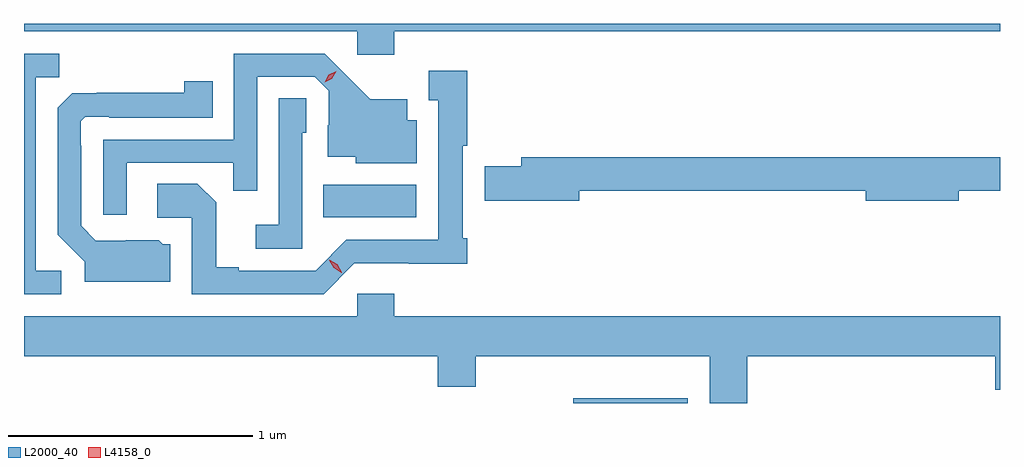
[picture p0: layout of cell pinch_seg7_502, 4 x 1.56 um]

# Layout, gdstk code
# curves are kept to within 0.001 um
import gdstk
lib = gdstk.Library(unit=1e-6, precision=1e-09)
def R(c, l, rs):  # rectangles x0, y0, x1, y1
    for r in rs: c.add(gdstk.rectangle(r[:2], r[2:], *l))
def P(c, l, *ps):  # polygons
    for p in ps: c.add(gdstk.Polygon(p, *l))
L2000_40 = (2000, 40)
L4158_0 = (4158, 0)

pinch_seg7_502 = lib.new_cell('pinch_seg7_502')
R(pinch_seg7_502, L2000_40, [(123.075,1080.344,123.544,1080.364), (122.05,1081.106,122.431,1081.24)])
P(pinch_seg7_502, L2000_40, [(122.342,1081.868),(124.824,1081.868),(124.824,1081.9),(120.824,1081.9),(120.824,1081.868),(122.19,1081.868),(122.19,1081.773),(122.342,1081.773)],
  [(120.976,1080.888),(120.873,1080.888),(120.873,1081.681),(120.969,1081.681),(120.969,1081.776),(120.824,1081.776),(120.824,1080.792),(120.976,1080.792)],
  [(121.245,1081.329),(121.681,1081.329),(121.681,1081.216),(121.779,1081.216),(121.779,1081.683),(122.016,1081.683),(122.073,1081.626),(122.073,1081.484),(122.069,1081.484),(122.069,1081.355),(122.184,1081.355),(122.184,1081.328),(122.434,1081.328),(122.434,1081.504),(122.395,1081.504),(122.395,1081.591),(122.243,1081.591),(122.056,1081.776),(121.683,1081.776),(121.683,1081.425),(121.149,1081.425),(121.149,1081.116),(121.245,1081.116)],
  [(122.178,1080.918),(122.641,1080.917),(122.641,1081.021),(122.623,1081.021),(122.623,1081.399),(122.641,1081.399),(122.641,1081.708),(122.483,1081.708),(122.483,1081.587),(122.522,1081.587),(122.522,1081.014),(122.145,1081.014),(122.019,1080.888),(121.705,1080.888),(121.705,1080.901),(121.611,1080.901),(121.611,1081.168),(121.535,1081.244),(121.371,1081.244),(121.371,1081.104),(121.512,1081.104),(121.512,1080.792),(122.052,1080.792)],
  [(121.423,1080.996),(121.392,1080.996),(121.376,1081.012),(121.119,1081.011),(121.059,1081.071),(121.059,1081.4),(121.056,1081.4),(121.056,1081.5),(121.074,1081.518),(121.174,1081.518),(121.174,1081.515),(121.598,1081.515),(121.598,1081.663),(121.48,1081.663),(121.48,1081.616),(121.022,1081.615),(120.963,1081.556),(120.963,1081.034),(121.073,1080.924),(121.073,1080.842),(121.423,1080.842)],
  [(121.965,1081.452),(121.98,1081.452),(121.98,1081.595),(121.869,1081.595),(121.869,1081.075),(121.773,1081.075),(121.773,1080.978),(121.965,1080.978)],
  [(123.1,1081.216),(124.274,1081.216),(124.274,1081.174),(124.654,1081.174),(124.654,1081.216),(124.824,1081.216),(124.824,1081.352),(122.861,1081.352),(122.861,1081.316),(122.712,1081.316),(122.712,1081.174),(123.1,1081.174)],
  [(123.788,1080.536),(124.805,1080.536),(124.805,1080.4),(124.824,1080.4),(124.824,1080.7),(122.342,1080.7),(122.342,1080.793),(122.19,1080.793),(122.19,1080.7),(120.824,1080.7),(120.824,1080.536),(122.519,1080.536),(122.519,1080.412),(122.675,1080.412),(122.675,1080.536),(123.635,1080.536),(123.635,1080.344),(123.788,1080.344)])
P(pinch_seg7_502, L4158_0, [(122.125,1080.88),(122.094,1080.899),(122.076,1080.931),(122.076,1080.932),(122.076,1080.932),(122.108,1080.913),(122.126,1080.881),(122.126,1080.88)],
  [(122.056,1081.66),(122.056,1081.66),(122.073,1081.69),(122.103,1081.705),(122.103,1081.705),(122.103,1081.705),(122.086,1081.675),(122.056,1081.66)])

lib.write_gds('pinch_seg7_502.gds')
